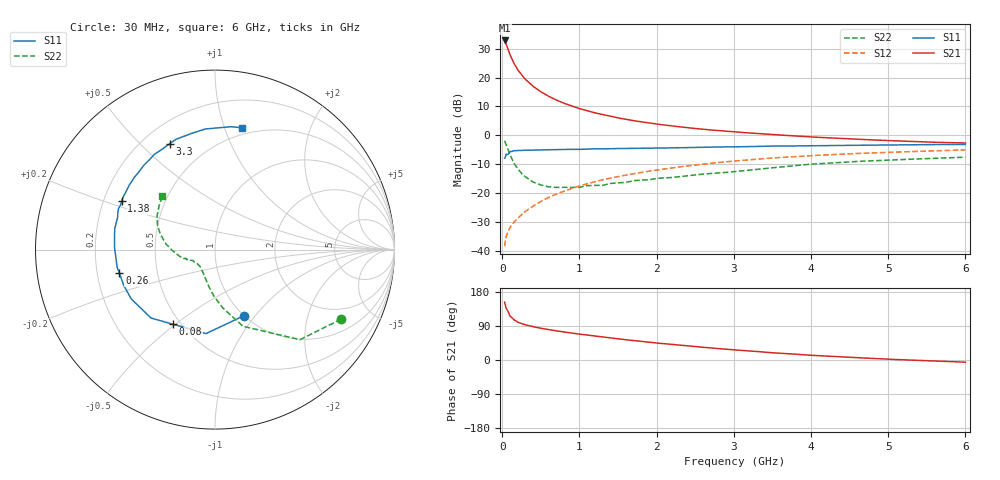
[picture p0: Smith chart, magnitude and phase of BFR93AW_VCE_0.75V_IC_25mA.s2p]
! Infineon Technologies  Discrete & RF Semiconductors
! BFR93AW
! VCE = 0.75 V,  IC =  25 mA
! Common Emitter S-Parameters:  Nov 2015
# GHz  S  MA  R  50
!  f  S11  S21  S12  S22
! GHz  MAG  ANG  MAG  ANG  MAG  ANG  MAG  ANG
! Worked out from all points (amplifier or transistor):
!   206 points, 30 MHz to 6 GHz, reference 50 ohm
!   highest |S21| = 32.9 dB at 30 MHz (marker M1)
!   |S21| within 3 dB of that: start of sweep to 74.22 MHz
!   unconditionally stable (mu >= 1): 393.8 MHz to 2.971 GHz
!   at 200 MHz: K = 0.81, MSG = 25.7 dB, |S12| = -28.8 dB
!   at 1.56 GHz: K = 1.07, MAG = 8.2 dB, |S12| = -14.0 dB
!   at 6 GHz: K = 0.99, MSG = 1.2 dB, |S12| = -5.0 dB
!   S11 on the Smith chart (normalised r, x): 30 MHz: 1.00, -0.88; 80 MHz: 0.46, -0.49; 260 MHz: 0.30, -0.11; 1.38 GHz: 0.28, +0.23; 3.3 GHz: 0.31, +0.62; 6 GHz: 0.44, +1.15
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0.03  0.402 -66.0  44.04 152.6  0.012 70.2  0.8025 -28.9
0.05  0.4707 -96.1  38.03 136.0  0.0177 61.6  0.6899 -46.7
0.08  0.4772 -119.4  29.65 126.0  0.0223 56.6  0.5379 -58.2
0.1  0.522 -133.1  24.84 115.8  0.0254 54.3  0.4553 -69.9
0.15  0.5415 -149.5  17.69 106.1  0.0312 54.6  0.3302 -82.1
0.2  0.5462 -158.6  13.66 100.0  0.0364 58.2  0.2622 -90.9
0.24  0.5465 -163.9  11.58 96.9  0.041 60.3  0.2261 -96.2
0.26  0.5484 -166.1  10.71 95.3  0.0434 61.1  0.2119 -98.8
0.3  0.554 -169.5  9.305 92.6  0.0481 62.6  0.1906 -103.1
0.4  0.5545 -176.3  7.034 87.7  0.0594 65.3  0.1546 -112.7
0.5  0.5599 178.8  5.666 83.6  0.0713 67.0  0.1378 -121.7
0.6  0.5624 175.0  4.746 80.2  0.0839 68.0  0.1283 -127.7
0.7  0.5664 171.2  4.095 76.8  0.0958 68.0  0.1252 -133.2
0.8  0.5709 167.9  3.592 73.9  0.1076 67.9  0.1259 -139.6
1.04  0.574 160.9  2.808 67.3  0.1373 66.9  0.1291 -147.2
1.38  0.5863 152.4  2.166 58.7  0.1787 64.4  0.1443 -155.3
2.02  0.6032 138.0  1.554 44.4  0.2525 58.0  0.1801 -164.1
3.1  0.6339 116.8  1.123 25.4  0.3669 45.9  0.242 -179.9
3.3  0.6415 113.2  1.076 22.4  0.3856 43.4  0.2578 176.6
4.1  0.6622 100.2  0.922 11.5  0.4514 34.0  0.3222 162.7
5.1  0.6807 87.2  0.802 1.3  0.5126 23.1  0.3773 148.1
6  0.6956 77.3  0.736 -5.7  0.5596 14.4  0.4177 134.7
